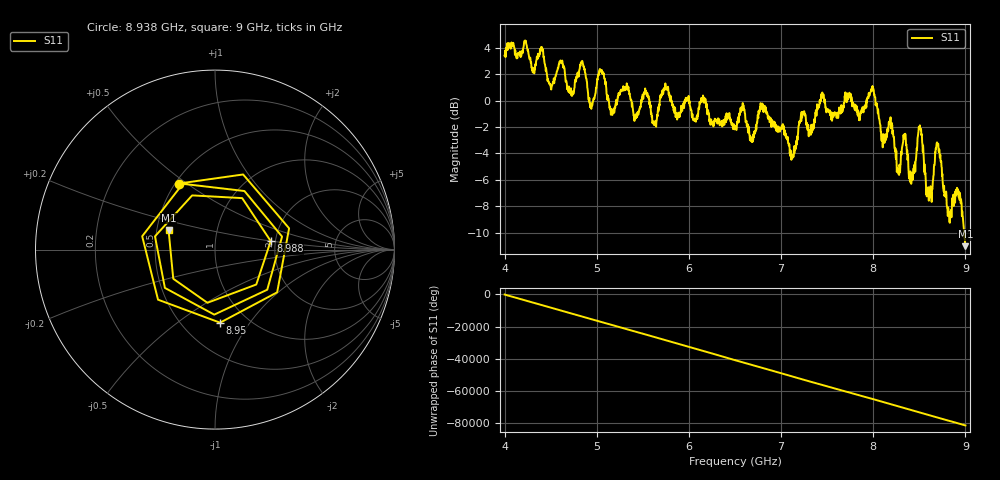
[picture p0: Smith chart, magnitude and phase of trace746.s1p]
! Created with skrf 1.8.0 (http://scikit-rf.org).
# Hz S RI R 50.0
!freq ReS11 ImS11
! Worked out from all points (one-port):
!   1601 points, 4 GHz to 9 GHz, reference 50 ohm
!   lowest |S11| = -11.0 dB at 9 GHz (marker M1), VSWR 1.78, Z = 28.9 + j6.82 ohm
!   |S11| at or under -10 dB: 8.987105 GHz to end of sweep
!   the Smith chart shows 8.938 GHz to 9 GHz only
!   S11 on the Smith chart (normalised r, x): 8.938 GHz: 0.52, +0.47; 8.95 GHz: 0.75, -0.73; 8.988 GHz: 1.89, +0.20; 9 GHz: 0.58, +0.14
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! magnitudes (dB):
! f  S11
! 4 GHz  3.4
! 4.625 GHz  3.1
! 4.725 GHz  0.4
! 4.844 GHz  3.0
! 4.934 GHz  -0.5
! 5.041 GHz  2.3
! 5.162 GHz  -0.7
! 5.25 GHz  0.5
! 5.875 GHz  -1.2
! 6.5 GHz  -2.1
! 6.584 GHz  -0.2
! 6.688 GHz  -3.0
! 6.8 GHz  -0.3
! 7.125 GHz  -4.3
! 7.238 GHz  -1.0
! 7.75 GHz  0.4
! 7.997 GHz  1.0
! 8.106 GHz  -3.1
! 8.375 GHz  -4.3
! 8.422 GHz  -5.8
! 8.506 GHz  -1.9
! 8.597 GHz  -6.6
! 8.697 GHz  -3.4
! 8.825 GHz  -9.2
! 8.938 GHz  -7.5
! 8.95 GHz  -7.8
! 8.988 GHz  -10.1
! 9 GHz  -11.0
